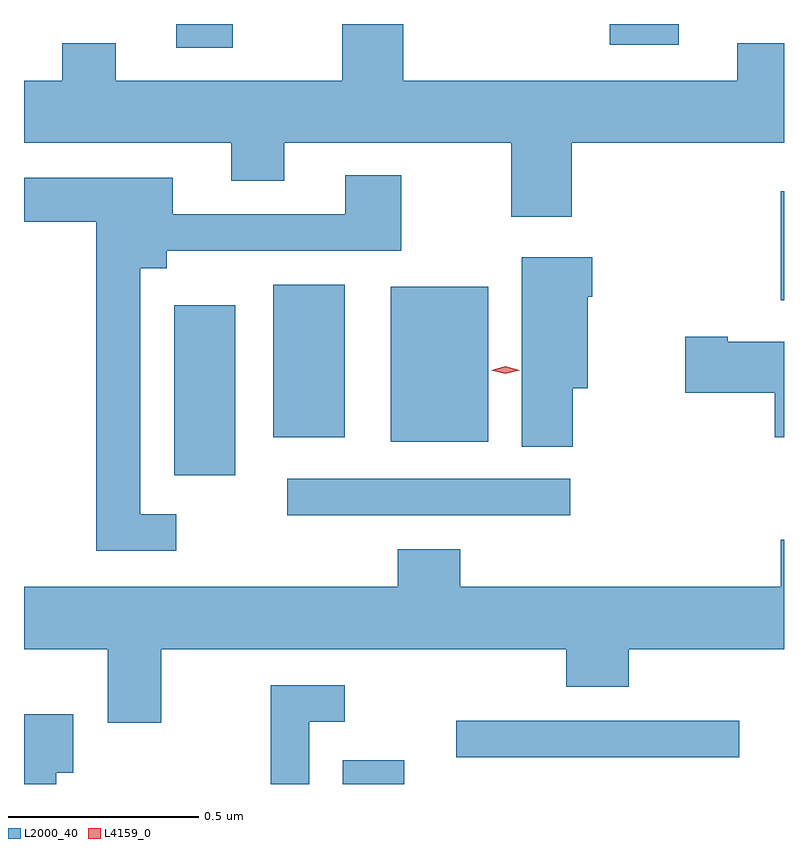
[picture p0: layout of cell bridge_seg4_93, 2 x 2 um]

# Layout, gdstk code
import gdstk
lib = gdstk.Library(unit=1e-6, precision=1e-09)
def R(c, l, rs):  # rectangles x0, y0, x1, y1
    for r in rs: c.add(gdstk.rectangle(r[:2], r[2:], *l))
def P(c, l, *ps):  # polygons
    for p in ps: c.add(gdstk.Polygon(p, *l))
L2000_40 = (2000, 40)
L4159_0 = (4159, 0)

bridge_seg4_93 = lib.new_cell('bridge_seg4_93')
R(bridge_seg4_93, L2000_40, [(448.151,749.845,448.312,749.908), (448.449,749.916,449.194,750.012), (448.005,750.552,448.75,750.648), (447.707,750.657,447.868,751.105), (448.277,750.746,448.534,751.153), (447.968,750.758,448.156,751.159), (449.303,751.118,449.312,751.405), (447.713,751.782,447.861,751.845), (448.853,751.79,449.035,751.845)])
P(bridge_seg4_93, L2000_40, [(448.754,751.532),(449.312,751.532),(449.312,751.795),(449.189,751.795),(449.189,751.696),(448.31,751.696),(448.31,751.845),(448.15,751.845),(448.15,751.696),(447.553,751.696),(447.553,751.795),(447.413,751.795),(447.413,751.696),(447.312,751.696),(447.312,751.532),(447.857,751.532),(447.857,751.433),(447.997,751.433),(447.997,751.532),(448.594,751.532),(448.594,751.338),(448.754,751.338)],
  [(447.712,750.555),(447.618,750.555),(447.618,751.202),(447.688,751.202),(447.688,751.248),(448.305,751.248),(448.305,751.447),(448.157,751.447),(448.157,751.344),(447.703,751.344),(447.703,751.44),(447.312,751.44),(447.312,751.324),(447.502,751.324),(447.502,750.459),(447.712,750.459)],
  [(448.756,750.887),(448.795,750.887),(448.795,751.127),(448.808,751.127),(448.808,751.231),(448.622,751.231),(448.622,750.733),(448.756,750.733)],
  [(449.312,751.009),(449.164,751.009),(449.164,751.022),(449.052,751.022),(449.052,750.875),(449.288,750.875),(449.288,750.758),(449.312,750.758)],
  [(447.673,750.2),(448.739,750.2),(448.739,750.101),(448.904,750.101),(448.904,750.2),(449.312,750.2),(449.312,750.488),(449.303,750.488),(449.303,750.364),(448.46,750.364),(448.46,750.463),(448.295,750.463),(448.295,750.364),(447.312,750.364),(447.312,750.2),(447.533,750.2),(447.533,750.006),(447.673,750.006)],
  [(448.062,750.009),(448.156,750.009),(448.156,750.105),(447.961,750.105),(447.961,749.845),(448.062,749.845)],
  [(447.397,749.874),(447.442,749.874),(447.442,750.028),(447.312,750.028),(447.312,749.845),(447.397,749.845)])
P(bridge_seg4_93, L4159_0, [(448.579,750.924),(448.541,750.934),(448.541,750.934),(448.541,750.934),(448.579,750.944),(448.617,750.934),(448.617,750.934),(448.617,750.934)])

lib.write_gds('bridge_seg4_93.gds')
